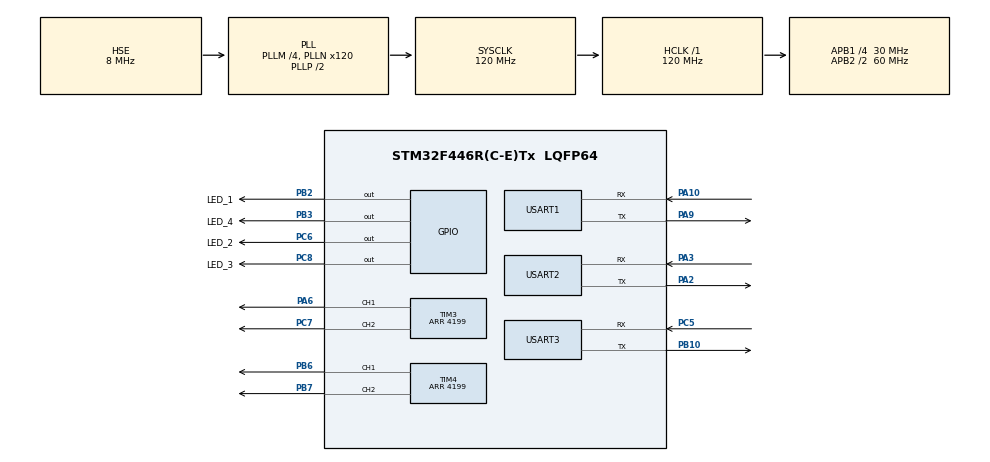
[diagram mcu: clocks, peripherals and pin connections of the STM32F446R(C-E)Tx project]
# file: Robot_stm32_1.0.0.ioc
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Mcu.Family=STM32F4
Mcu.Name=STM32F446R(C-E)Tx
Mcu.Package=LQFP64
NVIC.PriorityGroup=NVIC_PRIORITYGROUP_4
PA10.Mode=Asynchronous
PA10.Signal=USART1_RX
PA13.Mode=Serial_Wire
PA13.Signal=SYS_JTMS-SWDIO
PA14.Mode=Serial_Wire
PA14.Signal=SYS_JTCK-SWCLK
PA2.Mode=Asynchronous
PA2.Signal=USART2_TX
PA3.Mode=Asynchronous
PA3.Signal=USART2_RX
PA6.Signal=S_TIM3_CH1
PA9.Mode=Asynchronous
PA9.Signal=USART1_TX
PB10.Mode=Asynchronous
PB10.Signal=USART3_TX
PB2.GPIO_Label=LED_1
PB2.Signal=GPIO_Output
PB3.GPIO_Label=LED_4
PB3.Signal=GPIO_Output
PB6.Signal=S_TIM4_CH1
PB7.Signal=S_TIM4_CH2
PC5.Mode=Asynchronous
PC5.Signal=USART3_RX
PC6.GPIO_Label=LED_2
PC6.Signal=GPIO_Output
PC7.Signal=S_TIM3_CH2
PC8.GPIO_Label=LED_3
PC8.Signal=GPIO_Output
PH0-OSC_IN.Mode=HSE-External-Oscillator
PH0-OSC_IN.Signal=RCC_OSC_IN
PH1-OSC_OUT.Mode=HSE-External-Oscillator
PH1-OSC_OUT.Signal=RCC_OSC_OUT
ProjectManager.HeapSize=0x200
ProjectManager.StackSize=0x400
ProjectManager.TargetToolchain=CMake
RCC.AHBFreq_Value=120000000
RCC.APB1CLKDivider=RCC_HCLK_DIV4
RCC.APB1Freq_Value=30000000
RCC.APB1TimFreq_Value=60000000
RCC.APB2CLKDivider=RCC_HCLK_DIV2
RCC.APB2Freq_Value=60000000
RCC.APB2TimFreq_Value=120000000
RCC.CortexFreq_Value=120000000
RCC.HCLKFreq_Value=120000000
RCC.HSE_VALUE=8000000
RCC.PLLM=4
RCC.PLLN=120
RCC.PLLSourceVirtual=RCC_PLLSOURCE_HSE
RCC.SYSCLKFreq_VALUE=120000000
RCC.SYSCLKSource=RCC_SYSCLKSOURCE_PLLCLK
RCC.USBFreq_Value=120000000
RCC.VCOOutputFreq_Value=240000000
SH.S_TIM3_CH1.0=TIM3_CH1,PWM Generation1 CH1
SH.S_TIM3_CH2.0=TIM3_CH2,PWM Generation2 CH2
SH.S_TIM4_CH1.0=TIM4_CH1,PWM Generation1 CH1
SH.S_TIM4_CH2.0=TIM4_CH2,PWM Generation2 CH2
TIM3.Channel-PWM\ Generation1\ CH1=TIM_CHANNEL_1
TIM3.Channel-PWM\ Generation2\ CH2=TIM_CHANNEL_2
TIM3.Period=4199
TIM4.Channel-PWM\ Generation1\ CH1=TIM_CHANNEL_1
TIM4.Channel-PWM\ Generation2\ CH2=TIM_CHANNEL_2
TIM4.Period=4199
USART1.VirtualMode=VM_ASYNC
USART2.VirtualMode=VM_ASYNC
USART3.VirtualMode=VM_ASYNC
VP_TIM3_VS_ClockSourceINT.Mode=Internal
VP_TIM4_VS_ClockSourceINT.Mode=Internal
board=custom

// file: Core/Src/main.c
/* USER CODE BEGIN Header */
/**
 ******************************************************************************
 * @file           : main.c
 * @brief          : Main program body
 ******************************************************************************
 * @attention
 *
 * Copyright (c) 2026 STMicroelectronics.
 * All rights reserved.
 *
 * This software is licensed under terms that can be found in the LICENSE file
 * in the root directory of this software component.
 * If no LICENSE file comes with this software, it is provided AS-IS.
 *
 ******************************************************************************
 * @file           : main.c
 * @brief          : STM32F446RCTx Robot Motor Controller
 * @version        : 1.0.0
 * @author         : Pakprom Naennoi (Peace) , Electronics Engineer (Embedded Systems)
 * @date           : 2026-11-14
 *
 * @brief          : Main control logic for the robot motor controller
 * @note           : This firmware is designed for the MUT Robot Open House 2026 (18-Nov-2026) event.
 * @details
 * - DRV8833 Dual DC Motor Control
 * - TIM3 / TIM4 PWM
 * - USART1 ESP32 Communication
 * - USART2 Debug
 * - UART CRC-8 Protocol
 * - Motor Failsafe
 * - LED Status Indicators
 */
/* USER CODE END Header */
#include "main.h"
#include "tim.h"
#include "usart.h"
#include "gpio.h"

/* USER CODE BEGIN Includes */
#include <stdio.h>
#include <string.h>
/* USER CODE END Includes */

/* USER CODE BEGIN PD */
#define Firmware_Version "1.0.0"

#define PROTOCOL_HEADER 0xA5U
#define PROTOCOL_SIZE 8U

#define CMD_SET_MOTOR 0x01U
#define CMD_STOP 0x02U
#define CMD_HEARTBEAT 0x03U
#define CMD_SET_MOTOR_XY 0x04U /* signed values encoded as value + 100 */

#define MOTOR_COAST 0U
#define MOTOR_FORWARD 1U
#define MOTOR_REVERSE 2U

#define MOTOR_TIMEOUT_MS 500U
#define UART_FRAME_GAP_MS 20U
#define UART_DEBUG_STATS 0U
#define JOYSTICK_DEBUG_MS 250U
/* USER CODE END PD */

/* USER CODE BEGIN PV */

typedef struct
{
  uint8_t speed;
  uint8_t direction;
} MotorState_t;

static MotorState_t motor1 = {0};
static MotorState_t motor2 = {0};

/* USART1 polling RX: deliberately no HAL_UART_Receive_IT(). */
static uint8_t rx_buffer[PROTOCOL_SIZE] = {0};
static uint8_t rx_index = 0U;
static uint32_t rx_last_byte_tick = 0U;
static uint32_t last_motor_command_tick = 0U;
static uint8_t motor_command_active = 0U;
static uint8_t stop_log_pending = 0U;
static uint8_t failsafe_log_pending = 0U;
static uint32_t last_led_tick = 0U;
static uint32_t last_stats_tick = 0U;
static uint32_t rx_byte_count = 0U;
static uint32_t rx_valid_count = 0U;
static uint32_t rx_crc_errors = 0U;
static uint32_t rx_uart_errors = 0U;
static uint8_t rx_led_active = 0U;
static int16_t joy_x = 0;
static int16_t joy_y = 0;
static int16_t motor_left = 0;
static int16_t motor_right = 0;
static uint8_t joystick_debug_pending = 0U;
static uint32_t last_joystick_debug_tick = 0U;

/* USER CODE END PV */

void SystemClock_Config(void);
/* USER CODE BEGIN PFP */

static uint8_t CRC8_Calculate(const uint8_t *data, uint8_t length);

static void Motor_Set(uint8_t motor_id, uint8_t speed, uint8_t direction);

static void Motor_StopAll(void);
static void LED_Update(void);

static void Protocol_Parse(const uint8_t *frame);
static void Protocol_ReceiveByte(uint8_t data);
static void UART1_Poll(void);

static void Motor_Init(void);
static void Motor_Process(void);

/* USER CODE END PFP */

/* USER CODE BEGIN 0 */

/* ================= CRC-8 ================= */

static uint8_t CRC8_Calculate(const uint8_t *data, uint8_t length)
{
  uint8_t crc = 0;

  for (uint8_t i = 0; i < length; i++)
  {
    crc ^= data[i];

    for (uint8_t j = 0; j < 8; j++)
    {
      if (crc & 0x80U)
        crc = (uint8_t)((crc << 1) ^ 0x07U);
      else
        crc <<= 1;
    }
  }

  return crc;
}

/* ================= MOTOR ================= */

static void Motor_Set(uint8_t motor_id, uint8_t speed, uint8_t direction)
{
  TIM_HandleTypeDef *htim;
  uint32_t ch_a;
  uint32_t ch_b;
  MotorState_t *motor;

  if (motor_id == 1U)
  {
    htim = &htim3;
    ch_a = TIM_CHANNEL_1;
    ch_b = TIM_CHANNEL_2;
    motor = &motor1;
  }

  else if (motor_id == 2U)
  {
    htim = &htim4;
    ch_a = TIM_CHANNEL_1;
    ch_b = TIM_CHANNEL_2;
    motor = &motor2;
  }

  else
  {
    return;
  }

  if (speed > 100U)
    speed = 100U;

  /* ARR from CubeMX */
  uint32_t arr = __HAL_TIM_GET_AUTORELOAD(htim);

  /* Full scale includes ARR + 1 */
  uint32_t pwm = ((uint32_t)speed * (arr + 1U)) / 100U;

  uint32_t pwm_a = 0;
  uint32_t pwm_b = 0;

  if (direction == MOTOR_FORWARD && speed > 0U)
  {
    pwm_a = pwm;
  }

  else if (direction == MOTOR_REVERSE && speed > 0U)
  {
    pwm_b = pwm;
  }

  else
  {
    speed = 0;
    direction = MOTOR_COAST;
  }

  __HAL_TIM_SET_COMPARE(htim, ch_a, pwm_a);
  __HAL_TIM_SET_COMPARE(htim, ch_b, pwm_b);

  motor->speed = speed;
  motor->direction = direction;
}

static void Motor_StopAll(void)
{
  Motor_Set(1, 0, MOTOR_COAST);
  Motor_Set(2, 0, MOTOR_COAST);
}

/* ================= LED STATUS ================= */

static void LED_Update(void)
{
  uint32_t now = HAL_GetTick();

  /* LED1: System Ready */
  HAL_GPIO_WritePin(LED_1_GPIO_Port, LED_1_Pin, GPIO_PIN_SET);

  /* LED2: UART Receive Indicator */
  if (rx_led_active && (now - last_led_tick >= 50U))
  {
    rx_led_active = 0;
  }

  HAL_GPIO_WritePin(LED_2_GPIO_Port, LED_2_Pin, rx_led_active ? GPIO_PIN_SET : GPIO_PIN_RESET);

  /* LED3: Motor 1 */
  HAL_GPIO_WritePin(LED_3_GPIO_Port, LED_3_Pin, motor1.speed > 0U ? GPIO_PIN_SET : GPIO_PIN_RESET);

  /* LED4: Motor 2 */
  HAL_GPIO_WritePin(LED_4_GPIO_Port, LED_4_Pin, motor2.speed > 0U ? GPIO_PIN_SET : GPIO_PIN_RESET);
}

/* ================= PROTOCOL PARSER ================= */

static void Protocol_Parse(const uint8_t *frame)
{
  const uint8_t cmd = frame[1];
  const uint32_t now = HAL_GetTick();

  switch (cmd)
  {
  case CMD_SET_MOTOR:
  {
    const uint8_t s1 = frame[2];
    const uint8_t d1 = frame[3];
    const uint8_t s2 = frame[4];
    const uint8_t d2 = frame[5];

    if (frame[6] != 0U || s1 > 100U || s2 > 100U ||
        d1 > MOTOR_REVERSE || d2 > MOTOR_REVERSE)
    {
      printf("[ERROR] Invalid motor data\r\n");
      return;
    }

    Motor_Set(1U, s1, d1);
    Motor_Set(2U, s2, d2);

    motor_left = d1 == MOTOR_REVERSE ? -(int16_t)s1 : d1 == MOTOR_FORWARD ? (int16_t)s1
                                                                          : 0;

    motor_right = d2 == MOTOR_REVERSE ? -(int16_t)s2 : d2 == MOTOR_FORWARD ? (int16_t)s2
                                                                           : 0;

    if (motor1.speed == 0U && motor2.speed == 0U)
    {
      motor_command_active = 0U;
    }
    else
    {
      motor_command_active = 1U;
    }

    last_motor_command_tick = now;

    stop_log_pending = 0U;
    failsafe_log_pending = 0U;

    /* Enable Motor Debug */
    joystick_debug_pending = 2U;

    break;
  }

  case CMD_STOP:
  {
    if (motor_command_active || motor1.speed || motor2.speed)
    {
      stop_log_pending = 1U;
    }

    Motor_StopAll();

    motor_command_active = 0U;
    motor_left = 0;
    motor_right = 0;

    joystick_debug_pending = 0U;

    break;
  }

  case CMD_HEARTBEAT:
  {
    /* Heartbeat does not reset Motor Timeout */
    break;
  }

  default:
  {
    printf("[ERROR] Unknown CMD: 0x%02X\r\n", cmd);
    return;
  }
  }

  rx_led_active = 1U;
  last_led_tick = now;
}

/* ================= UART RX (POLLING) ================= */

/*
 * This project already received 0x55 successfully with HAL_UART_Receive().
 * Keep RX in polling mode until USART1 IRQ/NVIC is independently verified.
 * ESP32 sends one 8-byte frame approximately every 100 ms.
 */
static void Protocol_ReceiveByte(uint8_t data)
{
  /* Avoid combining bytes from separate damaged/incomplete frames. */
  if (rx_index != 0U && (uint32_t)(HAL_GetTick() - rx_last_byte_tick) > UART_FRAME_GAP_MS)
  {
    rx_index = 0U;
  }
  rx_last_byte_tick = HAL_GetTick();

  if (rx_index == 0U && data != PROTOCOL_HEADER)
    return;

  rx_buffer[rx_index++] = data;

  if (rx_index == PROTOCOL_SIZE)
  {
    uint8_t crc = CRC8_Calculate(rx_buffer, PROTOCOL_SIZE - 1U);

    if (crc == rx_buffer[PROTOCOL_SIZE - 1U])
    {
      rx_valid_count++;
      Protocol_Parse(rx_buffer);
    }
    else
    {
      rx_crc_errors++;
    }

    /* Resync: keep bytes beginning at the next candidate header. */
    uint8_t next_header = PROTOCOL_SIZE;
    for (uint8_t i = 1U; i < PROTOCOL_SIZE; i++)
    {
      if (rx_buffer[i] == PROTOCOL_HEADER)
      {
        next_header = i;
        break;
      }
    }
    if (crc == rx_buffer[PROTOCOL_SIZE - 1U] ||
        next_header == PROTOCOL_SIZE)
    {
      rx_index = 0U;
    }
    else
    {
      rx_index = (uint8_t)(PROTOCOL_SIZE - next_header);
      memmove(rx_buffer, &rx_buffer[next_header], rx_index);
    }
  }
}

static void UART1_Poll(void)
{
  uint8_t byte;

  /* Read several queued bytes without waiting for a new byte. */
  for (uint8_t i = 0U; i < 32U; i++)
  {
    HAL_StatusTypeDef status = HAL_UART_Receive(&huart1, &byte, 1U, 0U);

    if (status == HAL_OK)
    {
      rx_byte_count++;
      Protocol_ReceiveByte(byte);
    }
    else if (status == HAL_TIMEOUT)
    {
      break; /* No more bytes currently available. */
    }
    else
    {
      rx_uart_errors++;
      rx_index = 0U;
      /* Recover from overrun/noise errors; no active IT reception. */
      __HAL_UART_CLEAR_OREFLAG(&huart1);
      __HAL_UART_CLEAR_FEFLAG(&huart1);
      __HAL_UART_CLEAR_NEFLAG(&huart1);
      break;
    }
  }
}

/* ================= INITIALIZATION ================= */

static void Motor_Init(void)
{
  __HAL_TIM_SET_COMPARE(&htim3, TIM_CHANNEL_1, 0U);
  __HAL_TIM_SET_COMPARE(&htim3, TIM_CHANNEL_2, 0U);
  __HAL_TIM_SET_COMPARE(&htim4, TIM_CHANNEL_1, 0U);
  __HAL_TIM_SET_COMPARE(&htim4, TIM_CHANNEL_2, 0U);

  if (HAL_TIM_PWM_Start(&htim3, TIM_CHANNEL_1) != HAL_OK ||
      HAL_TIM_PWM_Start(&htim3, TIM_CHANNEL_2) != HAL_OK ||
      HAL_TIM_PWM_Start(&htim4, TIM_CHANNEL_1) != HAL_OK ||
      HAL_TIM_PWM_Start(&htim4, TIM_CHANNEL_2) != HAL_OK)
  {
    printf("[MOTOR] PWM start failed\r\n");
    Error_Handler();
  }

  Motor_StopAll();
  last_motor_command_tick = HAL_GetTick();
  last_stats_tick = HAL_GetTick();

  printf("\r\n============================\r\n");
  printf(" STM32 MOTOR CONTROLLER\r\n");
  printf(" SYSCLK: %lu Hz\r\n", (unsigned long)HAL_RCC_GetSysClockFreq());
  printf(" DRIVER: DRV8833\r\n");
  printf(" UART1: ESP32 RX (POLLING)\r\n");
  printf(" UART2: DEBUG\r\n");
  printf("============================\r\n");
  printf("[SYSTEM] READY\r\n");
}

/* ================= MAIN PROCESS ================= */

static void Motor_Process(void)
{
  /* USART1 Polling */
  UART1_Poll();

  uint32_t now = HAL_GetTick();

  /* Motor Command Timeout */
  if (motor_command_active &&
      (uint32_t)(now - last_motor_command_tick) >= MOTOR_TIMEOUT_MS)
  {
    Motor_StopAll();

    motor_command_active = 0U;
    failsafe_log_pending = 1U;
    stop_log_pending = 0U;
    joystick_debug_pending = 0U;
  }

  LED_Update();

  /* Motor / Stop / Failsafe Debug */
  if (failsafe_log_pending)
  {
    failsafe_log_pending = 0U;

    printf("[FAILSAFE] MOTOR COMMAND TIMEOUT - STOP\r\n");
  }
  else if (stop_log_pending)
  {
    stop_log_pending = 0U;

    printf("[MOTOR] STOP ALL (UART CMD)\r\n");
  }

  /* Motor Speed and Direction Debug */
  if (joystick_debug_pending == 2U &&
      (uint32_t)(HAL_GetTick() - last_joystick_debug_tick) >= JOYSTICK_DEBUG_MS)
  {
    last_joystick_debug_tick = HAL_GetTick();
    joystick_debug_pending = 0U;

    printf("[MOTOR] M1:%d%% DIR:%u | M2:%d%% DIR:%u\r\n",
           (int)motor_left,
           (unsigned)motor1.direction,
           (int)motor_right,
           (unsigned)motor2.direction);
  }

#if UART_DEBUG_STATS
  if ((uint32_t)(now - last_stats_tick) >= 2000U)
  {
    last_stats_tick = now;

    printf("[UART1] bytes=%lu valid=%lu crc_err=%lu uart_err=%lu\r\n",
           (unsigned long)rx_byte_count,
           (unsigned long)rx_valid_count,
           (unsigned long)rx_crc_errors,
           (unsigned long)rx_uart_errors);
  }
#endif
}

/* USER CODE END 0 */

int main(void)
{

  /* MCU Configuration--------------------------------------------------------*/

  /* Reset of all peripherals, Initializes the Flash interface and the Systick. */
  HAL_Init();

  /* Configure the system clock */
  SystemClock_Config();

  /* Initialize all configured peripherals */
  MX_GPIO_Init();
  MX_TIM3_Init();
  MX_TIM4_Init();
  MX_USART1_UART_Init();
  MX_USART2_UART_Init();
  MX_USART3_UART_Init();
  /* USER CODE BEGIN 2 */
  printf("[SYSTEM] START MUT ROBOT CONTROLLER\r\n");
  printf("[SYSTEM] FIRMWARE VERSION: %s\r\n", Firmware_Version);
  printf("[INFO] Build Date: %s %s\r\n", __DATE__, __TIME__);

  Motor_Init();
  printf("[SYSTEM] INITIALIZED\r\n");
  for (int i = 0; i < 5; i++)
  {
    HAL_GPIO_TogglePin(LED_1_GPIO_Port, LED_1_Pin);
    HAL_GPIO_TogglePin(LED_2_GPIO_Port, LED_2_Pin);
    HAL_GPIO_TogglePin(LED_3_GPIO_Port, LED_3_Pin);
    HAL_GPIO_TogglePin(LED_4_GPIO_Port, LED_4_Pin);
    HAL_Delay(200);
  }
  printf("[SYSTEM] COMPLETE\r\n");
  /* USER CODE END 2 */

  /* Infinite loop */
  while (1)
  {

    /* USER CODE BEGIN 3 */
    Motor_Process();
  }
  /* USER CODE END 3 */
}

void SystemClock_Config(void)
{
  RCC_OscInitTypeDef RCC_OscInitStruct = {0};
  RCC_ClkInitTypeDef RCC_ClkInitStruct = {0};

  /** Configure the main internal regulator output voltage
  */
  __HAL_RCC_PWR_CLK_ENABLE();
  __HAL_PWR_VOLTAGESCALING_CONFIG(PWR_REGULATOR_VOLTAGE_SCALE3);

  /** Initializes the RCC Oscillators according to the specified parameters
  * in the RCC_OscInitTypeDef structure.
  */
  RCC_OscInitStruct.OscillatorType = RCC_OSCILLATORTYPE_HSE;
  RCC_OscInitStruct.HSEState = RCC_HSE_ON;
  RCC_OscInitStruct.PLL.PLLState = RCC_PLL_ON;
  RCC_OscInitStruct.PLL.PLLSource = RCC_PLLSOURCE_HSE;
  RCC_OscInitStruct.PLL.PLLM = 4;
  RCC_OscInitStruct.PLL.PLLN = 120;
  RCC_OscInitStruct.PLL.PLLP = RCC_PLLP_DIV2;
  RCC_OscInitStruct.PLL.PLLQ = 2;
  RCC_OscInitStruct.PLL.PLLR = 2;
  if (HAL_RCC_OscConfig(&RCC_OscInitStruct) != HAL_OK)
  {
    Error_Handler();
  }

  /** Initializes the CPU, AHB and APB buses clocks
  */
  RCC_ClkInitStruct.ClockType = RCC_CLOCKTYPE_HCLK|RCC_CLOCKTYPE_SYSCLK
                              |RCC_CLOCKTYPE_PCLK1|RCC_CLOCKTYPE_PCLK2;
  RCC_ClkInitStruct.SYSCLKSource = RCC_SYSCLKSOURCE_PLLCLK;
  RCC_ClkInitStruct.AHBCLKDivider = RCC_SYSCLK_DIV1;
  RCC_ClkInitStruct.APB1CLKDivider = RCC_HCLK_DIV4;
  RCC_ClkInitStruct.APB2CLKDivider = RCC_HCLK_DIV2;

  if (HAL_RCC_ClockConfig(&RCC_ClkInitStruct, FLASH_LATENCY_3) != HAL_OK)
  {
    Error_Handler();
  }
}

/* USER CODE BEGIN 4 */

/* ================= printf retarget ================= */
#ifdef __GNUC__
int __io_putchar(int ch)
{
  HAL_UART_Transmit(&huart2, (uint8_t *)&ch, 1, HAL_MAX_DELAY);
  return ch;
}
#endif

/* USER CODE END 4 */

void Error_Handler(void)
{
  __disable_irq();
  while (1)
  {
  }
}
